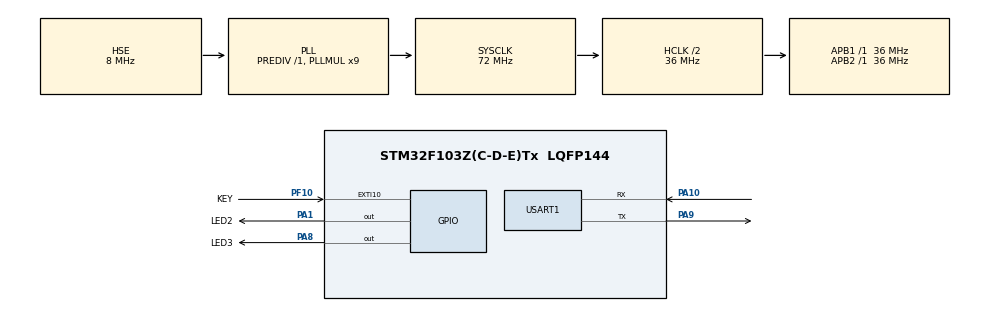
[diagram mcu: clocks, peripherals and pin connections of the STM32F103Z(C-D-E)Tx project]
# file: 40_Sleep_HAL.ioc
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Mcu.Family=STM32F1
Mcu.Name=STM32F103Z(C-D-E)Tx
Mcu.Package=LQFP144
NVIC.EXTI15_10_IRQn=true\:3\:0\:true\:false\:true\:true\:true\:true
NVIC.PriorityGroup=NVIC_PRIORITYGROUP_4
NVIC.USART1_IRQn=true\:3\:0\:true\:false\:true\:true\:true\:true
OSC_IN.Mode=HSE-External-Oscillator
OSC_IN.Signal=RCC_OSC_IN
OSC_OUT.Mode=HSE-External-Oscillator
OSC_OUT.Signal=RCC_OSC_OUT
PA0-WKUP.Mode=SYS_WakeUp0
PA0-WKUP.Signal=SYS_WKUP
PA1.GPIO_Label=LED2
PA1.GPIO_Speed=GPIO_SPEED_FREQ_HIGH
PA1.PinState=GPIO_PIN_SET
PA1.Signal=GPIO_Output
PA10.Mode=Asynchronous
PA10.Signal=USART1_RX
PA13.Mode=Serial_Wire
PA13.Signal=SYS_JTMS-SWDIO
PA14.Mode=Serial_Wire
PA14.Signal=SYS_JTCK-SWCLK
PA8.GPIO_Label=LED3
PA8.GPIO_Speed=GPIO_SPEED_FREQ_HIGH
PA8.PinState=GPIO_PIN_SET
PA8.Signal=GPIO_Output
PA9.Mode=Asynchronous
PA9.Signal=USART1_TX
PC14-OSC32_IN.Mode=LSE-External-Oscillator
PC14-OSC32_IN.Signal=RCC_OSC32_IN
PC15-OSC32_OUT.Mode=LSE-External-Oscillator
PC15-OSC32_OUT.Signal=RCC_OSC32_OUT
PF10.GPIO_Label=KEY
PF10.GPIO_PuPd=GPIO_PULLDOWN
PF10.Signal=GPXTI10
ProjectManager.HeapSize=0x200
ProjectManager.StackSize=0x400
ProjectManager.TargetToolchain=MDK-ARM V5.32
RCC.AHBCLKDivider=RCC_SYSCLK_DIV2
RCC.AHBFreq_Value=36000000
RCC.APB1Freq_Value=36000000
RCC.APB1TimFreq_Value=36000000
RCC.APB2Freq_Value=36000000
RCC.APB2TimFreq_Value=36000000
RCC.HCLKFreq_Value=36000000
RCC.PLLMUL=RCC_PLL_MUL9
RCC.PLLSourceVirtual=RCC_PLLSOURCE_HSE
RCC.SYSCLKFreq_VALUE=72000000
RCC.SYSCLKSource=RCC_SYSCLKSOURCE_PLLCLK
RCC.USBFreq_Value=72000000
USART1.VirtualMode=VM_ASYNC
board=custom

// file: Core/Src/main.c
/* USER CODE BEGIN Header */
/**
  ******************************************************************************
  * @file           : main.c
  * @brief          : Main program body
  ******************************************************************************
  * @attention
  *
  * Copyright (c) 2024 STMicroelectronics.
  * All rights reserved.
  *
  * This software is licensed under terms that can be found in the LICENSE file
  * in the root directory of this software component.
  * If no LICENSE file comes with this software, it is provided AS-IS.
  *
  ******************************************************************************
  */
  /* USER CODE END Header */
  /* Includes ------------------------------------------------------------------*/
#include "main.h"
#include "usart.h"
#include "gpio.h"

/* USER CODE BEGIN PTD */
void HAL_GPIO_EXTI_Callback(uint16_t GPIO_Pin)
{
    if (GPIO_Pin == KEY_Pin)
    {
        // HAL_SuspendTick();
        // HAL_Delay(10);
        if (HAL_GPIO_ReadPin(KEY_GPIO_Port, KEY_Pin) != 0)  // GPIOF
        {
            HAL_GPIO_TogglePin(LED3_GPIO_Port, LED3_Pin);  // GPIOA
        }
        // HAL_ResumeTick();
    }
}
uint16_t datalen = 0;
uint8_t rbuffer[128] = { 0 };
void HAL_UARTEx_RxEventCallback(UART_HandleTypeDef* huart, uint16_t Size) {
    if (huart->Instance == USART1)
    {
        datalen = Size;
        HAL_UARTEx_ReceiveToIdle_IT(&huart1, rbuffer, 128);
    }
}
/* USER CODE END PTD */

void SystemClock_Config(void);

int main(void)
{

    /* MCU Configuration--------------------------------------------------------*/

    /* Reset of all peripherals, Initializes the Flash interface and the Systick. */
    HAL_Init();

    /* Configure the system clock */
    SystemClock_Config();

    /* Initialize all configured peripherals */
    MX_GPIO_Init();
    MX_USART1_UART_Init();
    /* USER CODE BEGIN 2 */
    HAL_GPIO_WritePin(LED2_GPIO_Port, LED2_Pin, GPIO_PIN_SET);
    HAL_UARTEx_ReceiveToIdle_IT(&huart1, rbuffer, 128);

    if (__HAL_PWR_GET_FLAG(PWR_CSR_WUF))
    {
        printf("从待机模式被唤醒\n");
        __HAL_PWR_CLEAR_FLAG(PWR_CSR_WUF);
        __HAL_PWR_CLEAR_FLAG(PWR_CSR_SBF);
    }
    else
    {
        printf("从复位启动\n");
    }

    /* USER CODE END 2 */

    /* Infinite loop */
    /* USER CODE BEGIN WHILE */
    while (1)
    {
        printf("代码运行完成 5s之后进入待机模式 \n");
        HAL_Delay(5000);
        // 开启wake up唤醒功能
        HAL_PWR_EnableWakeUpPin(PWR_WAKEUP_PIN1);

        HAL_PWR_EnterSTANDBYMode();
        // printf("6s后进入睡眠模式\n");
        // HAL_Delay(6000);
        // HAL_SuspendTick();
        // // HAL_PWR_EnterSLEEPMode(0, PWR_SLEEPENTRY_WFI);
        // // HAL_PWR_EnterSTOPMode(PWR_LOWPOWERREGULATOR_ON, PWR_SLEEPENTRY_WFI);
        // HAL_ResumeTick();
        // SystemClock_Config();

        // printf("唤醒\n");
        /* USER CODE END WHILE */

    }
}

void SystemClock_Config(void)
{
    RCC_OscInitTypeDef RCC_OscInitStruct = { 0 };
    RCC_ClkInitTypeDef RCC_ClkInitStruct = { 0 };

    /** Initializes the RCC Oscillators according to the specified parameters
    * in the RCC_OscInitTypeDef structure.
    */
    RCC_OscInitStruct.OscillatorType = RCC_OSCILLATORTYPE_HSE;
    RCC_OscInitStruct.HSEState = RCC_HSE_ON;
    RCC_OscInitStruct.HSEPredivValue = RCC_HSE_PREDIV_DIV1;
    RCC_OscInitStruct.HSIState = RCC_HSI_ON;
    RCC_OscInitStruct.PLL.PLLState = RCC_PLL_ON;
    RCC_OscInitStruct.PLL.PLLSource = RCC_PLLSOURCE_HSE;
    RCC_OscInitStruct.PLL.PLLMUL = RCC_PLL_MUL9;
    if (HAL_RCC_OscConfig(&RCC_OscInitStruct) != HAL_OK)
    {
        Error_Handler();
    }

    /** Initializes the CPU, AHB and APB buses clocks
    */
    RCC_ClkInitStruct.ClockType = RCC_CLOCKTYPE_HCLK | RCC_CLOCKTYPE_SYSCLK
        | RCC_CLOCKTYPE_PCLK1 | RCC_CLOCKTYPE_PCLK2;
    RCC_ClkInitStruct.SYSCLKSource = RCC_SYSCLKSOURCE_PLLCLK;
    RCC_ClkInitStruct.AHBCLKDivider = RCC_SYSCLK_DIV2;
    RCC_ClkInitStruct.APB1CLKDivider = RCC_HCLK_DIV1;
    RCC_ClkInitStruct.APB2CLKDivider = RCC_HCLK_DIV1;

    if (HAL_RCC_ClockConfig(&RCC_ClkInitStruct, FLASH_LATENCY_2) != HAL_OK)
    {
        Error_Handler();
    }
}

void Error_Handler(void)
{
    __disable_irq();
    while (1)
    {
    }
}
